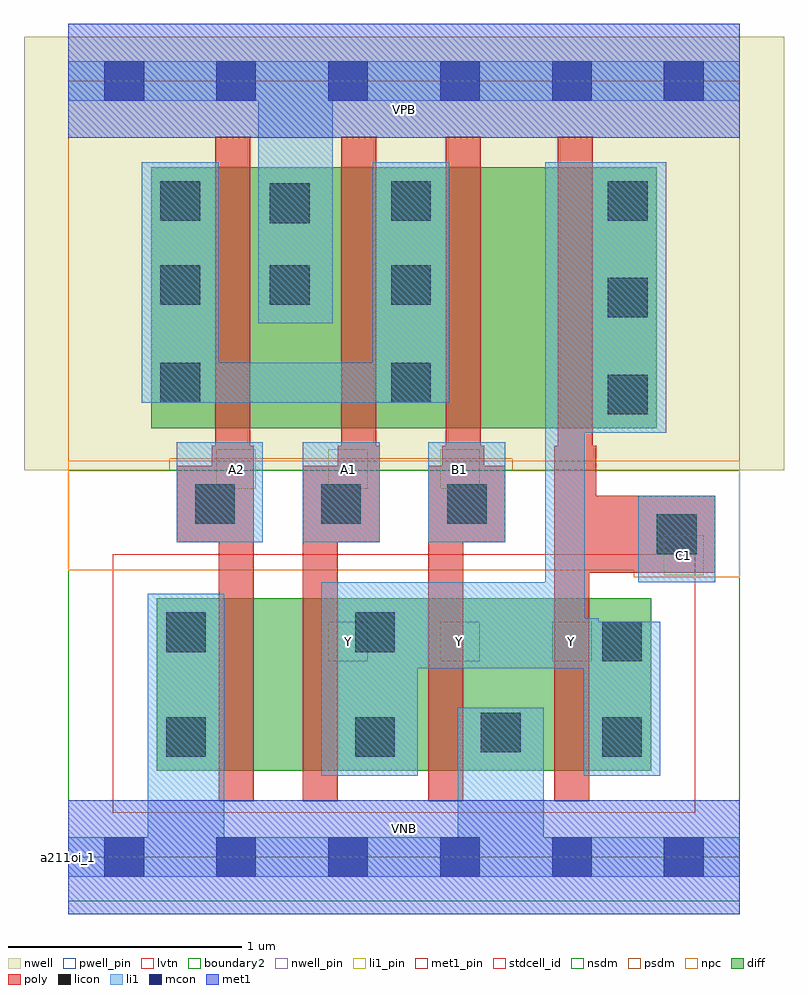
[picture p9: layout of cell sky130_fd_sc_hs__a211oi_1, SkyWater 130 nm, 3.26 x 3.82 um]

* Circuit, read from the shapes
.subckt sky130_fd_sc_hs__a211oi_1 A1 A2 B1 C1 VGND VNB VPB VPWR Y
XM1 n1 A2 VGND VNB sky130_fd_pr__nfet_01v8_lvt w=0.74 l=0.15
XM2 Y A1 n1 VNB sky130_fd_pr__nfet_01v8_lvt w=0.74 l=0.15
XM3 VGND B1 Y VNB sky130_fd_pr__nfet_01v8_lvt w=0.74 l=0.15
XM4 Y C1 VGND VNB sky130_fd_pr__nfet_01v8_lvt w=0.74 l=0.15
XM5 VPWR A2 n2 VPB sky130_fd_pr__pfet_01v8 w=1.12 l=0.15
XM6 n2 A1 VPWR VPB sky130_fd_pr__pfet_01v8 w=1.12 l=0.15
XM7 n3 B1 n2 VPB sky130_fd_pr__pfet_01v8 w=1.12 l=0.15
XM8 Y C1 n3 VPB sky130_fd_pr__pfet_01v8 w=1.12 l=0.15
.ends

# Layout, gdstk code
import gdstk
lib = gdstk.Library(unit=1e-6, precision=1e-09)
def R(c, l, rs):  # rectangles x0, y0, x1, y1
    for r in rs: c.add(gdstk.rectangle(r[:2], r[2:], *l))
def A(c, l, x, y, w, h, nx, ny, dx, dy):  # array of equal rectangles
    R(c, l, [(x+i*dx, y+j*dy, x+i*dx+w, y+j*dy+h) for i in range(nx) for j in range(ny)])
def P(c, l, *ps):  # polygons
    for p in ps: c.add(gdstk.Polygon(p, *l))
nwell_pin = (64, 16)
nwell = (64, 20)
diff = (65, 20)
poly = (66, 20)
licon = (66, 44)
li1_pin = (67, 16)
li1 = (67, 20)
mcon = (67, 44)
met1_pin = (68, 16)
met1 = (68, 20)
stdcell_id = (81, 4)
nsdm = (93, 44)
psdm = (94, 20)
npc = (95, 20)
pwell_pin = (122, 16)
lvtn = (125, 44)
boundary2 = (236, 0)

sky130_fd_sc_hs__a211oi_ = lib.new_cell('sky130_fd_sc_hs__a211oi_1')
R(sky130_fd_sc_hs__a211oi_, nwell_pin, [(0,3.085,2.88,3.33)])
R(sky130_fd_sc_hs__a211oi_, nwell, [(-0.19,1.66,3.07,3.52)])
R(sky130_fd_sc_hs__a211oi_, diff, [(0.38,0.37,2.5,1.11), (0.355,1.84,2.525,2.96)])
P(sky130_fd_sc_hs__a211oi_, poly, [(2.775,1.55),(2.265,1.55),(2.265,1.765),(2.25,1.765),(2.25,3.09),(2.1,3.09),(2.1,1.765),(2.085,1.765),(2.085,0.24),(2.235,0.24),(2.235,1.22),(2.775,1.22)],
  [(1.875,1.68),(1.785,1.68),(1.785,1.765),(1.77,1.765),(1.77,3.09),(1.62,3.09),(1.62,1.765),(1.605,1.765),(1.605,1.68),(1.545,1.68),(1.545,0.24),(1.695,0.24),(1.695,1.35),(1.875,1.35)],
  [(1.335,1.765),(1.32,1.765),(1.32,3.09),(1.17,3.09),(1.17,1.765),(1.155,1.765),(1.155,1.68),(1.005,1.68),(1.005,0.24),(1.155,0.24),(1.155,1.35),(1.335,1.35)],
  [(0.795,1.765),(0.78,1.765),(0.78,3.09),(0.63,3.09),(0.63,1.765),(0.615,1.765),(0.615,1.68),(0.465,1.68),(0.465,1.35),(0.645,1.35),(0.645,0.24),(0.795,0.24)])
A(sky130_fd_sc_hs__a211oi_, licon, 0.545, 1.43, 0.17, 0.17, 3, 1, 0.54, 0)
A(sky130_fd_sc_hs__a211oi_, licon, 2.315, 1.9, 0.17, 0.17, 1, 3, 0, 0.415)
R(sky130_fd_sc_hs__a211oi_, licon, [(0.42,0.43,0.59,0.6), (1.23,0.43,1.4,0.6), (2.29,0.43,2.46,0.6), (1.77,0.45,1.94,0.62), (2.29,0.84,2.46,1.01), (0.42,0.88,0.59,1.05), (1.23,0.88,1.4,1.05), (2.525,1.3,2.695,1.47), (0.395,1.95,0.565,2.12), (1.385,1.95,1.555,2.12), (0.395,2.37,0.565,2.54), (0.865,2.37,1.035,2.54), (1.385,2.37,1.555,2.54), (0.865,2.72,1.035,2.89), (0.395,2.73,0.565,2.9), (1.385,2.73,1.555,2.9)])
A(sky130_fd_sc_hs__a211oi_, li1_pin, 1.115, 0.84, 0.17, 0.17, 3, 1, 0.48, 0)
A(sky130_fd_sc_hs__a211oi_, li1_pin, 0.635, 1.58, 0.17, 0.17, 3, 1, 0.48, 0)
R(sky130_fd_sc_hs__a211oi_, li1_pin, [(2.555,1.21,2.725,1.38)])
R(sky130_fd_sc_hs__a211oi_, li1, [(2.445,1.18,2.775,1.55), (0.465,1.35,0.835,1.78), (1.005,1.35,1.335,1.78), (1.545,1.35,1.875,1.78)])
P(sky130_fd_sc_hs__a211oi_, li1, [(0.815,2.29),(0.815,3.245),(0,3.245),(0,3.415),(2.88,3.415),(2.88,3.245),(1.135,3.245),(1.135,2.29)],
  [(0.34,0.085),(0.34,1.13),(0.67,1.13),(0.67,0.085),(1.67,0.085),(1.67,0.64),(2.04,0.64),(2.04,0.085),(2.88,0.085),(2.88,-0.085),(0,-0.085),(0,0.085)],
  [(1.305,2.12),(1.305,2.98),(1.635,2.98),(1.635,1.95),(0.315,1.95),(0.315,2.98),(0.645,2.98),(0.645,2.12)],
  [(2.565,2.98),(2.045,2.98),(2.045,1.18),(1.085,1.18),(1.085,0.35),(1.5,0.35),(1.5,0.81),(2.21,0.81),(2.21,0.35),(2.54,0.35),(2.54,1.01),(2.275,1.01),(2.275,1.025),(2.215,1.025),(2.215,1.82),(2.565,1.82)])
A(sky130_fd_sc_hs__a211oi_, mcon, 0.155, -0.085, 0.17, 0.17, 6, 2, 0.48, 3.33)
R(sky130_fd_sc_hs__a211oi_, met1_pin, [(0,0,2.88,0.245), (0,3.085,2.88,3.33)])
R(sky130_fd_sc_hs__a211oi_, met1, [(0,-0.245,2.88,0.245), (0,3.085,2.88,3.575)])
R(sky130_fd_sc_hs__a211oi_, stdcell_id, [(0,0,2.88,3.33)])
R(sky130_fd_sc_hs__a211oi_, nsdm, [(0,-0.19,2.88,1.66)])
P(sky130_fd_sc_hs__a211oi_, psdm, [(2.88,3.52),(0,3.52),(0,1.66),(0.435,1.66),(0.435,1.71),(1.905,1.71),(1.905,1.66),(2.88,1.66)])
P(sky130_fd_sc_hs__a211oi_, npc, [(2.88,1.7),(0,1.7),(0,1.23),(2.425,1.23),(2.425,1.2),(2.88,1.2)])
R(sky130_fd_sc_hs__a211oi_, pwell_pin, [(0,0,2.88,0.245)])
R(sky130_fd_sc_hs__a211oi_, lvtn, [(0.19,0.19,2.69,1.3)])
R(sky130_fd_sc_hs__a211oi_, boundary2, [(0,0,2.88,3.33)])
sky130_fd_sc_hs__a211oi_.add(gdstk.Label('a211oi_1', (0,0), layer=83, texttype=44))
sky130_fd_sc_hs__a211oi_.add(gdstk.Label('VNB', (1.44,0.123), layer=64, texttype=59))
sky130_fd_sc_hs__a211oi_.add(gdstk.Label('VPB', (1.44,3.208), layer=64, texttype=5))
sky130_fd_sc_hs__a211oi_.add(gdstk.Label('VPWR', (1.44,3.208), layer=68, texttype=5))
sky130_fd_sc_hs__a211oi_.add(gdstk.Label('VGND', (1.44,0.123), layer=68, texttype=5))
sky130_fd_sc_hs__a211oi_.add(gdstk.Label('C1', (2.64,1.295), layer=67, texttype=5))
sky130_fd_sc_hs__a211oi_.add(gdstk.Label('Y', (1.2,0.925), layer=67, texttype=5))
sky130_fd_sc_hs__a211oi_.add(gdstk.Label('Y', (1.68,0.925), layer=67, texttype=5))
sky130_fd_sc_hs__a211oi_.add(gdstk.Label('Y', (2.16,0.925), layer=67, texttype=5))
sky130_fd_sc_hs__a211oi_.add(gdstk.Label('B1', (1.68,1.665), layer=67, texttype=5))
sky130_fd_sc_hs__a211oi_.add(gdstk.Label('A2', (0.72,1.665), layer=67, texttype=5))
sky130_fd_sc_hs__a211oi_.add(gdstk.Label('A1', (1.2,1.665), layer=67, texttype=5))

lib.write_gds('sky130_fd_sc_hs__a211oi_1.gds')
